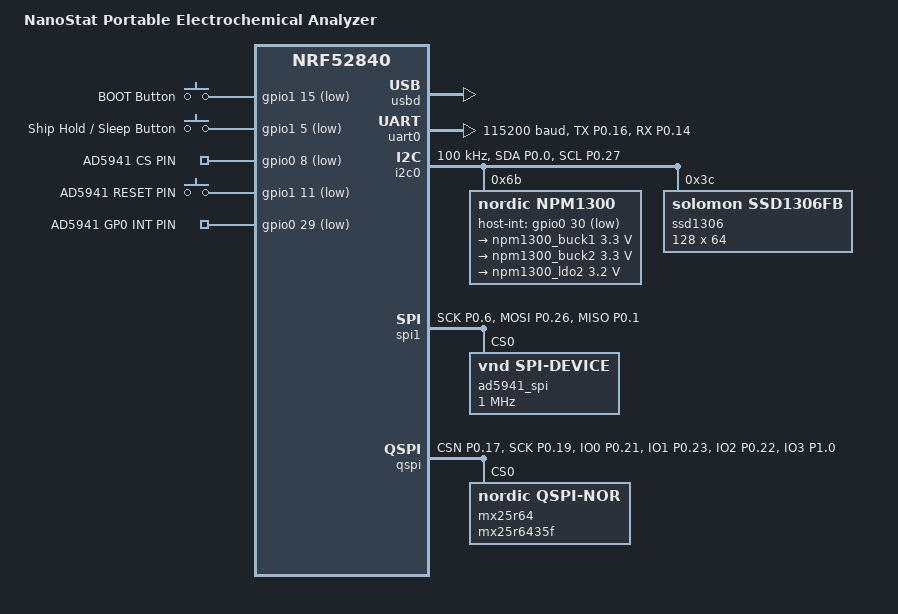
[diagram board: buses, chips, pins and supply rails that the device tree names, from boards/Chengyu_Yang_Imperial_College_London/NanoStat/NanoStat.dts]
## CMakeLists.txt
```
cmake_minimum_required(VERSION 3.20.0)

find_package(Zephyr REQUIRED HINTS $ENV{ZEPHYR_BASE})
project(NPM1300_bringup)

target_compile_definitions(app PRIVATE CHIPSEL_594X)
zephyr_include_directories(lib/ad5940lib)

target_sources(app PRIVATE
    src/main.c
    src/power_config.c
    src/ble_service.c
    src/ad5941_app.c
    src/ad5941_port.c
    src/oled_display.c
    lib/ad5940lib/ad5940.c
)
```

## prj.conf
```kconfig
# =========================================================
# Basic console / printk
# =========================================================
CONFIG_PRINTK=y
CONFIG_SERIAL=y
CONFIG_CONSOLE=y
#CONFIG_UART_CONSOLE=y


# =========================================================
# Native USB CDC ACM console
# =========================================================
CONFIG_USB_DEVICE_STACK=y
CONFIG_USB_DEVICE_PRODUCT="NanoStat nPM1300 bringup"

# The Nordic VID suppresses the default test-VID warning during development.
# A released product must use a legally assigned USB VID/PID.
CONFIG_USB_DEVICE_VID=0x1915
CONFIG_USB_DEVICE_PID=0x0004

# USB is enabled explicitly in main.c with usb_enable(NULL).
CONFIG_USB_DEVICE_INITIALIZE_AT_BOOT=n

# Required by the CDC ACM console.
CONFIG_UART_LINE_CTRL=y
CONFIG_UART_INTERRUPT_DRIVEN=y


# =========================================================
# nPM1300 / I2C / Sensor
# =========================================================
CONFIG_GPIO=y
CONFIG_I2C=y
CONFIG_SENSOR=y
CONFIG_LED=y
CONFIG_LED_NPM1300=y
CONFIG_MFD_NPM1300=y
CONFIG_NPM1300_CHARGER=y
CONFIG_REGULATOR=y
CONFIG_REGULATOR_NPM1300=y
CONFIG_SPI=y
CONFIG_SPI_NRFX=y


# =========================================================
# Logging
# =========================================================
# Disable the Zephyr logging subsystem and retain printk output only.
CONFIG_LOG=n


# =========================================================
# Shell
# =========================================================
# Disable the shell so its prompt does not mix with periodic printk output.
CONFIG_SHELL=n
CONFIG_DEVICE_SHELL=n
CONFIG_I2C_SHELL=n
CONFIG_SENSOR_SHELL=n


# =========================================================
# Low frequency clock
# =========================================================
# Use the internal 32.768 kHz RC oscillator.
CONFIG_CLOCK_CONTROL_NRF_K32SRC_RC=y

# Enable automatic RC calibration.
CONFIG_CLOCK_CONTROL_NRF_K32SRC_RC_CALIBRATION=y
CONFIG_CLOCK_CONTROL_NRF_CALIBRATION_PERIOD=4000

# Declare the low-frequency clock accuracy.
CONFIG_CLOCK_CONTROL_NRF_K32SRC_500PPM=y



CONFIG_USE_SEGGER_RTT=y
CONFIG_RTT_CONSOLE=y
CONFIG_UART_CONSOLE=n


# =========================================================
# BLE / Nordic UART Service
# =========================================================
CONFIG_BT=y
CONFIG_BT_PERIPHERAL=y
CONFIG_BT_DEVICE_NAME="NanoStat"
CONFIG_BT_DEVICE_APPEARANCE=833
CONFIG_BT_NUS=y
CONFIG_BT_MAX_CONN=1
CONFIG_BT_MAX_PAIRED=1
CONFIG_BT_GATT_CLIENT=n
CONFIG_BT_SETTINGS=n
```

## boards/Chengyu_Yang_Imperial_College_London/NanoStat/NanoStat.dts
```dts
/*
 * NanoStat (nRF52840-QIAA based) Device Tree
 * Designed for Portable Electrochemical Analysis
 */

/dts-v1/;
#include <nordic/nrf52840_qiaa.dtsi>
#include <zephyr/dt-bindings/gpio/gpio.h>
#include <zephyr/dt-bindings/i2c/i2c.h>
#include <zephyr/dt-bindings/regulator/npm1300.h>

#include "NanoStat-pinctrl.dtsi"

/ {
    model = "NanoStat Portable Electrochemical Analyzer";
    compatible = "Chengyu_Yang_Imperial_College_London,NanoStat";

    /* Core memory, display, and console bindings. */
    chosen {
        zephyr,sram = &sram0;
        zephyr,flash = &flash0;
        zephyr,code-partition = &slot0_partition;
        zephyr,display = &ssd1306;
        /* Route console, printk, and shell traffic through native USB CDC ACM. */
        zephyr,console = &cdc_acm_uart0;
        zephyr,shell-uart = &cdc_acm_uart0;
    };

    /* Standard aliases used by Zephyr drivers and application code. */
    aliases {
        uart-0 = &uart0;
        i2c-0 = &i2c0;
        spi-1 = &spi1;
        qspi-0 = &qspi;
        sw0 = &button_boot;
        sw3 = &button_ship_hold;
        afe-int = &ad5941_gp0_int;
    };

    /* GPIO button definitions. */
    buttons {
        compatible = "gpio-keys";

        button_boot: button_boot {
            gpios = <&gpio1 15 (GPIO_PULL_UP | GPIO_ACTIVE_LOW)>;
            label = "BOOT Button";
        };

        button_ship_hold: button_ship_hold {
            /* P1.05 maps to GPIO port 1, pin 5. */
            gpios = <&gpio1 5 (GPIO_ACTIVE_LOW | GPIO_PULL_UP)>;
            label = "Ship Hold / Sleep Button";
        };
    };

};

/* ================================================================= */
/* 0. Internal flash partition table                                  */
/* ================================================================= */
&flash0 {
    partitions {
        compatible = "fixed-partitions";
        #address-cells = <1>;
        #size-cells = <1>;

        boot_partition: partition@0 {
            label = "mcuboot";
            reg = <0x00000000 DT_SIZE_K(48)>;
        };

        slot0_partition: partition@c000 {
            label = "image-0";
            reg = <0x0000c000 DT_SIZE_K(472)>;
        };

        slot1_partition: partition@82000 {
            label = "image-1";
            reg = <0x00082000 DT_SIZE_K(472)>;
        };

        storage_partition: partition@f8000 {
            label = "storage";
            reg = <0x000f8000 DT_SIZE_K(32)>;
        };
    };
};

/* ================================================================= */
/* 1. Physical pin mappings                                            */
/* ================================================================= */
&pinctrl {
    /* UART pins. */
    uart0_default: uart0_default {
        group1 { psels = <NRF_PSEL(UART_TX, 0, 16)>, <NRF_PSEL(UART_RX, 0, 14)>; };
    };
    uart0_sleep: uart0_sleep {
        group1 { psels = <NRF_PSEL(UART_TX, 0, 16)>, <NRF_PSEL(UART_RX, 0, 14)>; low-power-enable; };
    };

    /* I2C0 pins for the nPM1300 and OLED. */
    i2c0_default: i2c0_default {
        group1 { psels = <NRF_PSEL(TWIM_SDA, 0, 0)>, <NRF_PSEL(TWIM_SCL, 0, 27)>; bias-pull-up; };
    };
    i2c0_sleep: i2c0_sleep {
        group1 { psels = <NRF_PSEL(TWIM_SDA, 0, 0)>, <NRF_PSEL(TWIM_SCL, 0, 27)>; low-power-enable; };
    };

    /* SPI1 pins for the AD5941. */
    spi1_default: spi1_default {
        group1 { psels = <NRF_PSEL(SPIM_SCK, 0, 6)>, <NRF_PSEL(SPIM_MOSI, 0, 26)>, <NRF_PSEL(SPIM_MISO, 0, 1)>; };
    };
    spi1_sleep: spi1_sleep {
        group1 { psels = <NRF_PSEL(SPIM_SCK, 0, 6)>, <NRF_PSEL(SPIM_MOSI, 0, 26)>, <NRF_PSEL(SPIM_MISO, 0, 1)>; low-power-enable; };
    };

    /* QSPI pins for external flash. */
    qspi_default: qspi_default {
        group1 { psels = <NRF_PSEL(QSPI_CSN, 0, 17)>, <NRF_PSEL(QSPI_SCK, 0, 19)>, <NRF_PSEL(QSPI_IO0, 0, 21)>, <NRF_PSEL(QSPI_IO1, 0, 23)>, <NRF_PSEL(QSPI_IO2, 0, 22)>, <NRF_PSEL(QSPI_IO3, 1, 0)>; };
    };
    qspi_sleep: qspi_sleep {
        group1 { psels = <NRF_PSEL(QSPI_CSN, 0, 17)>, <NRF_PSEL(QSPI_SCK, 0, 19)>, <NRF_PSEL(QSPI_IO0, 0, 21)>, <NRF_PSEL(QSPI_IO1, 0, 23)>, <NRF_PSEL(QSPI_IO2, 0, 22)>, <NRF_PSEL(QSPI_IO3, 1, 0)>; low-power-enable; };
    };
};

/* ================================================================= */
/* 2. Peripheral nodes                                                 */
/* ================================================================= */

/* Native USB. */
zephyr_udc0: &usbd {
    compatible = "nordic,nrf-usbd";
    status = "okay";

    cdc_acm_uart0: cdc_acm_uart0 {
        compatible = "zephyr,cdc-acm-uart";

    };
};

/* Debug UART. */
&uart0 {
    status = "okay";
    current-speed = <115200>;
    pinctrl-0 = <&uart0_default>;
    pinctrl-1 = <&uart0_sleep>;
    pinctrl-names = "default", "sleep";
};

/* I2C bus for the nPM1300 and OLED. */
&i2c0 {
    status = "okay";
    pinctrl-0 = <&i2c0_default>;
    pinctrl-1 = <&i2c0_sleep>;
    pinctrl-names = "default", "sleep";
    clock-frequency = <I2C_BITRATE_STANDARD>;

    npm1300: npm1300@6b {
        compatible = "nordic,npm1300";
        reg = <0x6b>;
        status = "okay";

        host-int-gpios = <&gpio0 30 GPIO_ACTIVE_LOW>;
        pmic-int-pin = <3>;
        ship-to-active-time-ms = <3008>;
        long-press-reset = "disabled";

        npm1300_gpio: gpio-controller {
            compatible = "nordic,npm1300-gpio";
            gpio-controller;
            #gpio-cells = <2>;
            ngpios = <5>;
        };

        npm1300_regulators: regulators {
            compatible = "nordic,npm1300-regulator";
            status = "okay";

            npm1300_buck1: BUCK1 {
                regulator-min-microvolt = <3300000>;
                regulator-max-microvolt = <3300000>;
                regulator-always-on;
                regulator-boot-on;
                regulator-initial-mode = <NPM1300_BUCK_MODE_AUTO>;

            };

            npm1300_buck2: BUCK2 {
                regulator-min-microvolt = <3300000>;
                regulator-max-microvolt = <3300000>;
                regulator-always-on;
                regulator-boot-on;
                regulator-initial-mode = <NPM1300_BUCK_MODE_PWM>;
            };

            npm1300_ldo1: LDO1 {
                regulator-initial-mode = <NPM1300_LDSW_MODE_LDSW>;
            };

            npm1300_ldo2: LDO2 {
                regulator-min-microvolt = <3200000>;
                regulator-max-microvolt = <3200000>;
                regulator-initial-mode = <NPM1300_LDSW_MODE_LDO>;
            };
        };

        npm1300_leds: leds {
            compatible = "nordic,npm1300-led";
            status = "okay";
            nordic,led0-mode = "host";
            nordic,led1-mode = "host";
            nordic,led2-mode = "host";
        };

        npm1300_charger: charger {
            compatible = "nordic,npm1300-charger";
            status = "okay";

            term-microvolt = <4150000>;
            current-microamp = <32000>;
            dischg-limit-microamp = <1000000>;
            vbus-limit-microamp = <500000>;

            thermistor-ohms = <10000>;
            thermistor-beta = <3988>;

            charging-enable;
        };
    };

    ssd1306: ssd1306@3c {
        compatible = "solomon,ssd1306fb";
        reg = <0x3c>;
        status = "okay";
        width = <128>;
        height = <64>;
        segment-offset = <0>;
        page-offset = <0>;
        display-offset = <0>;
        multiplex-ratio = <63>;
        segment-remap;
        com-invdir;
        com-sequential;
        prechargep = <0x22>;
    };
};

/* SPI bus for the AD5941. */
&spi1 {
    status = "okay";
    pinctrl-0 = <&spi1_default>;
    pinctrl-1 = <&spi1_sleep>;
    pinctrl-names = "default", "sleep";

    /* Chip select is controlled manually through ad5941_config below. */

    /* The label matches DT_NODELABEL(ad5941_spi) in the application. */
    ad5941_spi: ad5941@0 {
        compatible = "vnd,spi-device";
        reg = <0>;
        /* Bring-up uses 1 MHz; verify signal integrity before increasing it. */
        spi-max-frequency = <1000000>;
    };
};
/* ================================================================= */
/{
    /* Manually controlled AD5941 GPIO signals. */
    ad5941_config {
        compatible = "gpio-keys";

        ad5941_cs: ad5941_cs {
            /* Manual chip-select pin P0.08. */
            gpios = <&gpio0 8  GPIO_ACTIVE_LOW>;
            label = "AD5941 CS PIN";
        };

        ad5941_reset: ad5941_reset {
            /* Reset pin P1.11. */
            gpios = <&gpio1 11 GPIO_ACTIVE_LOW>;
            label = "AD5941 RESET PIN";
        };

        ad5941_gp0_int: ad5941_gp0_int {
            gpios = <&gpio0 29 (GPIO_ACTIVE_LOW | GPIO_PULL_UP)>;
            label = "AD5941 GP0 INT PIN";
        };
    };
};
/* QSPI bus for the external MX25R6435F flash. */
&qspi {
    status = "okay";
    pinctrl-0 = <&qspi_default>;
    pinctrl-1 = <&qspi_sleep>;
    pinctrl-names = "default", "sleep";
    mx25r64: mx25r6435f@0 {
        compatible = "nordic,qspi-nor";
        reg = <0>;
        writeoc = "pp4io";
        readoc = "read4io";
        sck-frequency = <8000000>;
        jedec-id = [c2 28 17];
        size = <67108864>;
        has-dpd;
    };
};

/* ================================================================= */
/* 3. Enable GPIO ports                                                */
/* ================================================================= */
&gpiote {
    status = "okay";
};

&gpio0 { status = "okay"; };
&gpio1 { status = "okay"; };
```

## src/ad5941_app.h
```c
/*
 * ad5941_app.h
 * Public high-level interface to the AD5941 application layer.
 */
#ifndef AD5941_APP_H
#define AD5941_APP_H

#include <stdbool.h>
#include <stdint.h>

enum ad5941_blank_peak_tia_path {
    AD5941_BLANK_PEAK_TIA_LPTIA = 0,
    AD5941_BLANK_PEAK_TIA_HSTIA_INT_160K,
    AD5941_BLANK_PEAK_TIA_HSTIA_EXT_160K,
    AD5941_BLANK_PEAK_TIA_HSTIA_EXT_330K,
    AD5941_BLANK_PEAK_TIA_HSTIA_EXT_680K,
};

enum ad5941_swv_profile {
    AD5941_SWV_PROFILE_5MV_FULL = 0,
    AD5941_SWV_PROFILE_2MV_FULL,
    AD5941_SWV_PROFILE_1MV_SEGMENTED,
};

#define ENABLE_LINEARITY_TEST 1

/**
 * @brief Initialise the AD5941 system.
 *
 * Checks SPI access, performs a hardware reset, and configures clocks and
 * the low-power electrochemical loop.
 *
 * @return 0 on success, or a negative value on failure.
 */
int ad5941_app_init(void);

/**
 * @brief Start the milestone-2 no-load baseline measurement stream.
 */
void ad5941_app_start_measurement(void);

/**
 * @brief Return whether an AD5941 capture/test session is currently active.
 *
 * RTT and BLE command paths use this to avoid starting a new test while the
 * sequencer/FIFO pipeline still belongs to the previous one.
 */
bool ad5941_app_is_measurement_busy(void);

/**
 * @brief Return whether the low-rate nPM1300 battery-current trace is active.
 *
 * SWV data must continue to be sent over BLE, but its large RTT CSV dump is
 * suppressed during this trace so it cannot stall current sampling.
 */
bool nanostat_battery_trace_is_active(void);

/**
 * @brief Clear transient measurement state before starting a new independent test.
 *
 * This stops ADC conversion, disables FIFO watermark IRQs, cancels delayed
 * finish work, clears pending FIFO flags, puts the electrode path into high-Z
 * safe idle, and resets app-side capture bookkeeping. It does not redo the full
 * AD5941 hardware bring-up.
 */
void ad5941_app_soft_reset_for_next_test(void);

/**
 * @brief Start the hardware-sequencer controlled CA test.
 *
 * The sequence applies +100mV with LPDAC, runs ADC conversion for 5 seconds,
 * then stops conversion without MCU timing intervention.
 *
 * @return 0 on success, <0 on failure.
 */
int App_SeqCA_Test_Start(void);

/**
 * @brief Start the hardware-sequencer controlled CV staircase test.
 *
 * The sequence sweeps LPDAC from about -100mV to +100mV and back with
 * 50ms dwell per step while ADC conversion runs continuously.
 *
 * @return 0 on success, <0 on failure.
 */
int App_SeqCV_Test_Start(void);

/**
 * @brief Start the hardware-sequencer controlled SWV pulse staircase test.
 *
 * The sequence sweeps the LPDAC base potential from about -100mV to +100mV.
 * At each base step, it applies a +50mV pulse for 25ms followed by a -50mV
 * pulse for 25ms while ADC conversion runs continuously.
 *
 * @return 0 on success, <0 on failure.
 */
int App_SeqSWV_Test_Start(void);

/**
 * @brief Start the sealed SWV-KDM diagnostic test.
 *
 * This keeps the verified long 100ms half-period timing. The ADC runs
 * continuously, then the MCU extracts end-of-pulse Delta_I after capture.
 *
 * @return 0 on success, <0 on failure.
 */
int App_SeqSWV_SinglePoint_Test_Start(void);

/**
 * @brief Start the fast SWV-KDM test.
 *
 * This returns to the 25ms half-period timing and uses a faster SINC2 OSR to
 * check whether the SINC2 settling path caused the attenuated SWV response.
 *
 * @return 0 on success, <0 on failure.
 */
int App_SeqSWV_FastKDM_Test_Start(void);

/**
 * @brief Start the slow-motion SWV single-point test.
 *
 * This keeps RTIA at 512k and stretches each half-pulse to 250ms so the
 * external compensation capacitor can settle.
 *
 * @return 0 on success, <0 on failure.
 */
int App_SeqSWV_SlowMotion_Test_Start(void);

/**
 * @brief Start the low-impedance SWV single-point test.
 *
 * This keeps the 25ms half-pulse timing but forces LPTIA TIAGAIN to 20k and
 * updates current conversion to match the lower RTIA.
 *
 * @return 0 on success, <0 on failure.
 */
int App_SeqSWV_LowImpedance_Test_Start(void);

/**
 * @brief Start the mixed-mode high-speed SWV diagnostic test.
 *
 * The waveform is still generated by LPDAC + Sequencer, but ADC sampling is
 * routed through the HSTIA path with internal 160k RTIA and small CTIA. This
 * diagnostic uses a 20ms half-pulse so a full SWV step aligns to two 50Hz
 * mains cycles.
 *
 * @return 0 on success, <0 on failure.
 */
int App_SeqSWV_MixedModeHSTIA_Test_Start(void);

/**
 * @brief Start the external AIN1 HSTIA 2M SWV comparison test at 150Hz.
 *
 * This uses the PCB DE0-AIN1 external 2M feedback resistor, opens the HSTIA
 * internal RTIA, and matches the LPTIA 150Hz comparison sweep and endpoint
 * extraction settings.
 *
 * @return 0 on success, <0 on failure.
 */
int App_SeqSWV_HSTIAExternalAIN1_Test_Start(void);

/**
 * @brief Start the external AIN1 HSTIA 2M SWV comparison test at 150Hz with Notch enabled.
 *
 * This keeps the HSTIA path identical to App_SeqSWV_HSTIAExternalAIN1_Test_Start()
 * except that the ADC Notch filter is enabled.
 *
 * @return 0 on success, <0 on failure.
 */
int App_SeqSWV_HSTIAExternalAIN1_Notch150Hz_Test_Start(void);

/**
 * @brief Start LPTIA external 2M SWV comparison test at 150Hz.
 *
 * Internal LPTIA RTIA is opened, LPAMP boost is enabled, and the external
 * 2M/220pF feedback path is measured with the same reduced SWV amplitude and
 * endpoint extraction settings used by the HSTIA comparison path.
 *
 * @return 0 on success, <0 on failure.
 */
int App_SeqSWV_LPTIAExternal2M_150Hz_Test_Start(void);

/**
 * @brief Run LPTIA external 2M SWV comparison test five times automatically.
 *
 * This starts the same test as App_SeqSWV_LPTIAExternal2M_150Hz_Test_Start(),
 * repeats it five times, and waits 10 seconds between completed runs.
 *
 * @return 0 on success, <0 on failure.
 */
int App_AutoRepeat_LPTIAExternal2M_150Hz_Test_Start(void);

/**
 * @brief Start LPTIA external 2M SWV diagnostic at 210Hz.
 *
 * Internal LPTIA RTIA is opened, LPAMP boost is enabled, and the external
 * 2M/220pF feedback path is measured with a reduced SWV amplitude while
 * avoiding exact 50Hz phase locking.
 *
 * @return 0 on success, <0 on failure.
 */
int App_SeqSWV_LPTIAExternal2M_200Hz_Test_Start(void);

/**
 * @brief Start boosted LPTIA 512k||2M SWV diagnostic at 150Hz.
 *
 * This keeps the internal 512k RTIA enabled, leaves the external 2M/220pF
 * feedback path in parallel, and enables LPAMP boost.
 *
 * @return 0 on success, <0 on failure.
 */
int App_SeqSWV_LPTIA512KParallel2MBoost150Hz_Test_Start(void);

/**
 * @brief Start LPTIA external 2M SWV diagnostic at 150Hz with boost disabled.
 *
 * This opens the internal LPTIA RTIA and relies on the external 2M/220pF
 * feedback path, but keeps LPAMP in normal power mode.
 *
 * @return 0 on success, <0 on failure.
 */
int App_SeqSWV_LPTIAExternal2M_NoBoost150Hz_Test_Start(void);

/**
 * @brief Start LPTIA external 2M SWV comparison test at 150Hz with Notch enabled.
 *
 * This keeps the LPTIA path identical to App_SeqSWV_LPTIAExternal2M_150Hz_Test_Start()
 * except that the ADC Notch filter is enabled.
 *
 * @return 0 on success, <0 on failure.
 */
int App_SeqSWV_LPTIAExternal2M_Notch150Hz_Test_Start(void);

/**
 * @brief Start a paper-style dual-frequency SWV/KDM dummy-cell test.
 *
 * This uses the LPTIA external 2M/220pF path, runs a 150Hz scan followed by
 * a 10Hz scan over -450mV..0mV, then prints the KDM ratio.
 *
 * @return 0 on success, <0 on failure.
 */
int App_SeqSWV_KDMPaper_Dummy_Test_Start(void);

/**
 * @brief Start a single-frequency paper-style SWV peak scan for PBS/MB blank tests.
 *
 * This reuses the paper-style SWV window (-450mV..0mV, 35mV pulse, ~5.37mV
 * step) on the LPTIA 512k||external-2M/220pF path, holds the start potential
 * for a quiet time, then runs one user-selected frequency and prints
 * voltage/current CSV rows to RTT.
 *
 * @param frequency_hz SWV frequency in Hz. Valid range is 1..250.
 * @return 0 on success, <0 on failure.
 */
int App_SeqSWV_BlankPeak_Test_Start(uint32_t frequency_hz);

/**
 * @brief Start the same single-frequency blank/peak scan with extra smoothing columns.
 *
 * RTT/BLE output includes Delta_I_smooth5, Delta_I_smooth7, and a 5-point
 * quadratic Savitzky-Golay smoothed Delta_I value in addition to the existing
 * raw/avg3 data. The scan uses the paper-style -450 mV..0 mV window with
 * approximately 1 mV potential steps, loaded in sequencer segments when needed.
 *
 * @param frequency_hz SWV frequency in Hz. Valid range is 1..250.
 * @return 0 on success, <0 on failure.
 */
int App_SeqSWV_BlankPeakSmoothing_Test_Start(uint32_t frequency_hz);

/**
 * @brief Start a single-frequency PBS/MB blank/peak scan on the HSTIA 160k path.
 *
 * This keeps the same E_WE-RE window, pulse amplitude, approximately 1 mV
 * potential step, quiet time, endpoint extraction, and smoothing output as
 * App_SeqSWV_BlankPeakSmoothing_Test_Start(), but routes current through the
 * internal HSTIA 160k path to avoid LPTIA saturation when PBS/MB currents are
 * unexpectedly large.
 *
 * @param frequency_hz SWV frequency in Hz. Valid range is 1..250.
 * @return 0 on success, <0 on failure.
 */
int App_SeqSWV_BlankPeakHSTIA160K_Test_Start(uint32_t frequency_hz);

/**
 * @brief Start a single-frequency PBS/MB blank/peak scan on a selectable TIA path.
 *
 * This is used by RTT and BLE/Web workflows to compare the internal HSTIA
 * 160k resistor with external thin-film HSTIA feedback resistors.
 *
 * @param frequency_hz SWV frequency in Hz. Valid range is 1..250.
 * @param tia_path TIA path/resistor selection.
 * @return 0 on success, <0 on failure.
 */
int App_SeqSWV_BlankPeakSelectableTIA_Test_Start(
    uint32_t frequency_hz,
    enum ad5941_blank_peak_tia_path tia_path);

/**
 * @brief Start a dummy-cell SWV validation scan.
 *
 * This reuses the PBS SWV voltage window and TIA readout path, but reports the
 * run as an ohmic dummy-cell validation instead of an aptasensor peak test.
 */
int App_SeqSWV_DummyCell_Test_Start(enum ad5941_swv_profile profile,
                                    uint32_t frequency_hz,
                                    enum ad5941_blank_peak_tia_path tia_path,
                                    uint32_t dummy_ohms);

/**
 * @brief Start the legacy AIN2-330k dummy-cell SWV comparison path.
 *
 * This is an RTT-only diagnostic used to reproduce the known-good 70 nA
 * dummy-cell result: 120 Hz, 5.37 mV staircase, +/-35 mV SWV pulse,
 * HSTIA external AIN2 330k. It intentionally avoids the new pre-test and
 * in-sequence high-Z guards so it can isolate guard/tail side effects.
 */
int App_SeqSWV_DummyCellLegacyAIN2_Test_Start(uint32_t dummy_ohms);

/**
 * @brief Auto-repeat dummy-cell SWV validation scans.
 */
int App_AutoRepeat_DummySWV_Test_Start(enum ad5941_swv_profile profile,
                                       uint32_t frequency_hz,
                                       enum ad5941_blank_peak_tia_path tia_path,
                                       uint32_t dummy_ohms,
                                       uint8_t repeat_count,
                                       uint32_t interval_ms);

/**
 * @brief Force the AD5941 electrode interface into the safe high-Z idle state.
 */
void ad5941_app_enter_high_z_now(void);

/**
 * @brief Run the high-Z validation scan and hold the final potential.
 *
 * The scan moves from approximately -400 mV to -200 mV and deliberately
 * leaves the electrode path biased at the final potential until a separate
 * high-Z command is received.
 */
int ad5941_app_start_high_z_validation(void);
void ad5941_app_reset_high_z_validation(void);

/**
 * @brief Compare LPTIA external-2M zero-current baseline with offset cal off/on.
 *
 * The test clears ADCOFFSETLPTIA0, captures a 0mV baseline, runs
 * AD5940_LPTIAOffsetCal(), restores the same external 2M path, captures again,
 * prints both statistics, then clears ADCOFFSETLPTIA0 back to zero.
 *
 * @return 0 on success, <0 on failure.
 */
int App_LPTIAOffsetDiagnostic_Test_Start(void);

/**
 * @brief Start an end-to-end LPTIA step response capture.
 *
 * The sequencer holds the LPTIA external 2M/220pF path at 0mV, steps to
 * +100mV, and captures the SINC2 FIFO stream so the MCU can estimate endpoint
 * settling for the current SWV windowing method.
 *
 * @return 0 on success, <0 on failure.
 */
int App_LPTIAStepResponse_Test_Start(void);

/**
 * @brief Start an end-to-end HSTIA external AIN1 step response capture.
 *
 * This mirrors App_LPTIAStepResponse_Test_Start() but routes the ADC through
 * the external AIN1 HSTIA 2M feedback path, currently using the configured
 * HSTIA CTIA value.
 *
 * @return 0 on success, <0 on failure.
 */
int App_HSTIAStepResponse_Test_Start(void);

bool ad5941_app_get_latest_current(int32_t *current_pa, uint32_t *sample_count);

#if ENABLE_LINEARITY_TEST
void ad5941_linearity_test_setup(uint8_t mode);
#endif

/**
 * @brief Put AD5941 interface pins into a safe state before power removal.
 */
void ad5941_app_prepare_shutdown(void);

#endif /* AD5941_APP_H */
```

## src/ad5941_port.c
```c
/*
 * AD5941 MCU Porting Layer for Zephyr RTOS (nRF52840)
 * Bridges the Analog Devices ad5940lib to Zephyr drivers.
 */

#include <zephyr/kernel.h>
#include <zephyr/device.h>
#include <zephyr/devicetree.h>
#include <zephyr/drivers/spi.h>
#include <zephyr/drivers/gpio.h>
#include <zephyr/sys/printk.h>

#include "ad5940.h"

/* * ==========================================
 * 1. Hardware node bindings shared with main.c
 * ==========================================
 */
#define SPI1_NODE DT_NODELABEL(ad5941_spi)

/* Mode 0 (CPOL=0, CPHA=0) is required by the AD5941 interface. */
static const struct spi_dt_spec spi_dev = SPI_DT_SPEC_GET(SPI1_NODE, SPI_WORD_SET(8) | SPI_TRANSFER_MSB, 0); 
static const struct gpio_dt_spec cs_pin = GPIO_DT_SPEC_GET(DT_PATH(ad5941_config, ad5941_cs), gpios);
static const struct gpio_dt_spec rst_pin = GPIO_DT_SPEC_GET(DT_PATH(ad5941_config, ad5941_reset), gpios);

/* * ==========================================
 * 2. Low-level interfaces required by the ADI library
 * ==========================================
 */

/**
 * @brief Check and initialise MCU-side hardware resources.
 */
uint32_t AD5940_MCUResourceInit(void *pCfg)
{
    if (!spi_is_ready_dt(&spi_dev)) {
        printk("[AD5941 Port] ERROR: SPI device not ready!\n");
        return 1; // Return error
    }
    if (!gpio_is_ready_dt(&cs_pin) || !gpio_is_ready_dt(&rst_pin)) {
        printk("[AD5941 Port] ERROR: GPIO devices not ready!\n");
        return 1; 
    }
    
    /* Leave chip select inactive and release reset by default. */
    gpio_pin_configure_dt(&cs_pin, GPIO_OUTPUT_INACTIVE);
    gpio_pin_configure_dt(&rst_pin, GPIO_OUTPUT_INACTIVE);
    
    return 0; // Success
}

/**
 * @brief Assert chip select.
 */
void AD5940_CsClr(void)
{
    gpio_pin_set_dt(&cs_pin, 1);
}

/**
 * @brief Deassert chip select.
 */
void AD5940_CsSet(void)
{
    gpio_pin_set_dt(&cs_pin, 0);
}

/**
 * @brief Release reset.
 */
void AD5940_RstSet(void)
{
    gpio_pin_set_dt(&rst_pin, 0);
}

/**
 * @brief Assert reset.
 */
void AD5940_RstClr(void)
{
    gpio_pin_set_dt(&rst_pin, 1);
}

/**
 * @brief Delay in units of 10 microseconds.
 * @param time Number of 10 microsecond intervals.
 */
void AD5940_Delay10us(uint32_t time)
{
    if (time == 0) return;
    
    /* Busy-wait because the ADI interface requires a short synchronous delay. */
    k_busy_wait(time * 10);
}

/**
 * @brief Low-level SPI transfer function.
 * @note The ADI library calls AD5940_CsClr before this function and
 * AD5940_CsSet afterwards, so chip select must not be changed here.
 */
void AD5940_ReadWriteNBytes(unsigned char *pSendBuffer, unsigned char *pRecvBuffer, unsigned long length)
{
    int ret;
    
    /* Zephyr transmit buffer. */
    struct spi_buf tx_buf = {
        .buf = pSendBuffer,
        .len = length
    };
    struct spi_buf_set tx_set = {
        .buffers = &tx_buf,
        .count = 1
    };

    /* Zephyr receive buffer. */
    struct spi_buf rx_buf = {
        .buf = pRecvBuffer,
        .len = length
    };
    struct spi_buf_set rx_set = {
        .buffers = &rx_buf,
        .count = 1
    };

    /* Transmit only. */
    if (pRecvBuffer == NULL) {
        ret = spi_write_dt(&spi_dev, &tx_set);
    } 
    /* Receive only. */
    else if (pSendBuffer == NULL) {
        ret = spi_read_dt(&spi_dev, &rx_set);
    } 
    /* Full-duplex transfer. */
    else {
        ret = spi_transceive_dt(&spi_dev, &tx_set, &rx_set);
    }

    if (ret < 0) {
        printk("[AD5941 Port] ERROR: SPI Transfer failed: %d\n", ret);
    }
}

/* Optional interrupt-flag hooks required by the library interface. */
uint32_t AD5940_GetMCUIntFlag(void)
{
    return 0; 
}

uint32_t AD5940_ClrMCUIntFlag(void)
{
    return 0;
}

void AD5940_MCUResourceDeInit(void)
{
    gpio_pin_configure_dt(&cs_pin, GPIO_DISCONNECTED);
    gpio_pin_configure_dt(&rst_pin, GPIO_DISCONNECTED);
}
```

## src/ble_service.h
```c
/*
 * NanoStat BLE service layer.
 *
 * First BLE revision uses Nordic UART Service (NUS) so it can be tested with
 * Nordic phone tools and simple Web Bluetooth clients before a custom GATT
 * protocol is finalized.
 */
#ifndef BLE_SERVICE_H
#define BLE_SERVICE_H

#include <stdbool.h>
#include <stdint.h>

int ble_service_init(void);
bool ble_service_is_connected(void);
int ble_service_send_text(const char *text);
int ble_service_send_sample(uint32_t sample_count, int32_t current_pa);

#endif /* BLE_SERVICE_H */
```

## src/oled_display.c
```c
/*
 * oled_display.c
 * Minimal raw SSD1315/SSD1306 I2C text helper for NanoStat.
 *
 * This intentionally bypasses Zephyr's display/CFB stack. The gm009605 v4.3
 * OLED module accepts SSD1306-compatible commands, but its CFB path did not
 * map text reliably. Direct page writes are stable on this hardware.
 */

#include <ctype.h>
#include <errno.h>
#include <stddef.h>
#include <stdint.h>
#include <stdio.h>
#include <string.h>

#include <zephyr/device.h>
#include <zephyr/devicetree.h>
#include <zephyr/drivers/i2c.h>
#include <zephyr/kernel.h>
#include <zephyr/sys/printk.h>

#include "oled_display.h"

#define OLED_NODE       DT_NODELABEL(ssd1306)
#define OLED_WIDTH      128U
#define OLED_PAGES      8U
#define OLED_CHAR_W     6U

BUILD_ASSERT(DT_NODE_EXISTS(OLED_NODE), "Missing devicetree node label: ssd1306");

static const struct i2c_dt_spec oled_i2c = I2C_DT_SPEC_GET(OLED_NODE);
static bool oled_ready;

static int oled_write_cmd(uint8_t cmd)
{
    uint8_t buf[2] = {0x00, cmd};

    return i2c_write_dt(&oled_i2c, buf, sizeof(buf));
}

static int oled_write_cmds(const uint8_t *cmds, size_t len)
{
    uint8_t buf[32];

    if (len > (sizeof(buf) - 1U)) {
        return -EINVAL;
    }

    buf[0] = 0x00;
    memcpy(&buf[1], cmds, len);

    return i2c_write_dt(&oled_i2c, buf, len + 1U);
}

static int oled_write_data(const uint8_t *data, size_t len)
{
    uint8_t buf[OLED_WIDTH + 1U];

    if (len > OLED_WIDTH) {
        return -EINVAL;
    }

    buf[0] = 0x40;
    memcpy(&buf[1], data, len);

    return i2c_write_dt(&oled_i2c, buf, len + 1U);
}

static int oled_set_page_col(uint8_t page, uint8_t col)
{
    int ret;

    ret = oled_write_cmd(0xB0U | (page & 0x07U));
    if (ret != 0) {
        return ret;
    }

    ret = oled_write_cmd(0x00U | (col & 0x0FU));
    if (ret != 0) {
        return ret;
    }

    return oled_write_cmd(0x10U | ((col >> 4) & 0x0FU));
}

static int oled_clear_all(void)
{
    uint8_t zeros[OLED_WIDTH];

    memset(zeros, 0, sizeof(zeros));

    for (uint8_t page = 0; page < OLED_PAGES; page++) {
        int ret = oled_set_page_col(page, 0);

        if (ret != 0) {
            return ret;
        }

        ret = oled_write_data(zeros, sizeof(zeros));
        if (ret != 0) {
            return ret;
        }
    }

    return 0;
}

static int oled_init_controller(void)
{
    static const uint8_t init_cmds[] = {
        0xAE,       /* display off */
        0xD5, 0x80, /* clock divide */
        0xA8, 0x3F, /* multiplex 1/64 */
        0xD3, 0x00, /* display offset */
        0x40,       /* display start line */
        0x8D, 0x14, /* charge pump on */
        0x20, 0x02, /* page addressing mode */
        0xA1,       /* segment remap */
        0xC8,       /* COM scan direction remap */
        0xDA, 0x12, /* COM pins: 128x64 common layout */
        0x81, 0x8F, /* contrast */
        0xD9, 0xF1, /* precharge */
        0xDB, 0x40, /* VCOMH deselect */
        0xA4,       /* output follows RAM */
        0xA6,       /* normal display */
        0x2E,       /* deactivate scroll */
    };

    int ret = oled_write_cmds(init_cmds, sizeof(init_cmds));

    if (ret != 0) {
        return ret;
    }

    ret = oled_clear_all();
    if (ret != 0) {
        return ret;
    }

    return oled_write_cmd(0xAF);
}

static const uint8_t *glyph_for_char(char c)
{
    static const uint8_t blank[5] = {0x00, 0x00, 0x00, 0x00, 0x00};
    static const uint8_t question[5] = {0x02, 0x01, 0x51, 0x09, 0x06};

    static const uint8_t glyph_0[5] = {0x3E, 0x51, 0x49, 0x45, 0x3E};
    static const uint8_t glyph_1[5] = {0x00, 0x42, 0x7F, 0x40, 0x00};
    static const uint8_t glyph_2[5] = {0x42, 0x61, 0x51, 0x49, 0x46};
    static const uint8_t glyph_3[5] = {0x21, 0x41, 0x45, 0x4B, 0x31};
    static const uint8_t glyph_4[5] = {0x18, 0x14, 0x12, 0x7F, 0x10};
    static const uint8_t glyph_5[5] = {0x27, 0x45, 0x45, 0x45, 0x39};
    static const uint8_t glyph_6[5] = {0x3C, 0x4A, 0x49, 0x49, 0x30};
    static const uint8_t glyph_7[5] = {0x01, 0x71, 0x09, 0x05, 0x03};
    static const uint8_t glyph_8[5] = {0x36, 0x49, 0x49, 0x49, 0x36};
    static const uint8_t glyph_9[5] = {0x06, 0x49, 0x49, 0x29, 0x1E};

    static const uint8_t glyph_a[5] = {0x7E, 0x11, 0x11, 0x11, 0x7E};
    static const uint8_t glyph_b[5] = {0x7F, 0x49, 0x49, 0x49, 0x36};
    static const uint8_t glyph_c[5] = {0x3E, 0x41, 0x41, 0x41, 0x22};
    static const uint8_t glyph_d[5] = {0x7F, 0x41, 0x41, 0x22, 0x1C};
    static const uint8_t glyph_e[5] = {0x7F, 0x49, 0x49, 0x49, 0x41};
    static const uint8_t glyph_f[5] = {0x7F, 0x09, 0x09, 0x09, 0x01};
    static const uint8_t glyph_g[5] = {0x3E, 0x41, 0x49, 0x49, 0x7A};
    static const uint8_t glyph_h[5] = {0x7F, 0x08, 0x08, 0x08, 0x7F};
    static const uint8_t glyph_i[5] = {0x00, 0x41, 0x7F, 0x41, 0x00};
    static const uint8_t glyph_j[5] = {0x20, 0x40, 0x41, 0x3F, 0x01};
    static const uint8_t glyph_k[5] = {0x7F, 0x08, 0x14, 0x22, 0x41};
    static const uint8_t glyph_l[5] = {0x7F, 0x40, 0x40, 0x40, 0x40};
    static const uint8_t glyph_m[5] = {0x7F, 0x02, 0x0C, 0x02, 0x7F};
    static const uint8_t glyph_n[5] = {0x7F, 0x04, 0x08, 0x10, 0x7F};
    static const uint8_t glyph_o[5] = {0x3E, 0x41, 0x41, 0x41, 0x3E};
    static const uint8_t glyph_p[5] = {0x7F, 0x09, 0x09, 0x09, 0x06};
    static const uint8_t glyph_q[5] = {0x3E, 0x41, 0x51, 0x21, 0x5E};
    static const uint8_t glyph_r[5] = {0x7F, 0x09, 0x19, 0x29, 0x46};
    static const uint8_t glyph_s[5] = {0x46, 0x49, 0x49, 0x49, 0x31};
    static const uint8_t glyph_t[5] = {0x01, 0x01, 0x7F, 0x01, 0x01};
    static const uint8_t glyph_u[5] = {0x3F, 0x40, 0x40, 0x40, 0x3F};
    static const uint8_t glyph_v[5] = {0x1F, 0x20, 0x40, 0x20, 0x1F};
    static const uint8_t glyph_w[5] = {0x7F, 0x20, 0x18, 0x20, 0x7F};
    static const uint8_t glyph_x[5] = {0x63, 0x14, 0x08, 0x14, 0x63};
    static const uint8_t glyph_y[5] = {0x07, 0x08, 0x70, 0x08, 0x07};
    static const uint8_t glyph_z[5] = {0x61, 0x51, 0x49, 0x45, 0x43};

    static const uint8_t glyph_colon[5] = {0x00, 0x36, 0x36, 0x00, 0x00};
    static const uint8_t glyph_dot[5] = {0x00, 0x60, 0x60, 0x00, 0x00};
    static const uint8_t glyph_minus[5] = {0x08, 0x08, 0x08, 0x08, 0x08};

    switch ((char)toupper((unsigned char)c)) {
    case '0': return glyph_0;
    case '1': return glyph_1;
    case '2': return glyph_2;
    case '3': return glyph_3;
    case '4': return glyph_4;
    case '5': return glyph_5;
    case '6': return glyph_6;
    case '7': return glyph_7;
    case '8': return glyph_8;
    case '9': return glyph_9;
    case 'A': return glyph_a;
    case 'B': return glyph_b;
    case 'C': return glyph_c;
    case 'D': return glyph_d;
    case 'E': return glyph_e;
    case 'F': return glyph_f;
    case 'G': return glyph_g;
    case 'H': return glyph_h;
    case 'I': return glyph_i;
    case 'J': return glyph_j;
    case 'K': return glyph_k;
    case 'L': return glyph_l;
    case 'M': return glyph_m;
    case 'N': return glyph_n;
    case 'O': return glyph_o;
    case 'P': return glyph_p;
    case 'Q': return glyph_q;
    case 'R': return glyph_r;
    case 'S': return glyph_s;
    case 'T': return glyph_t;
    case 'U': return glyph_u;
    case 'V': return glyph_v;
    case 'W': return glyph_w;
    case 'X': return glyph_x;
    case 'Y': return glyph_y;
    case 'Z': return glyph_z;
    case ':': return glyph_colon;
    case '.': return glyph_dot;
    case '-': return glyph_minus;
    case ' ': return blank;
    default: return question;
    }
}

static int oled_print_page(uint8_t page, uint8_t col, const char *text)
{
    while (*text != '\0' && col <= (OLED_WIDTH - OLED_CHAR_W)) {
        uint8_t bytes[OLED_CHAR_W];
        const uint8_t *glyph = glyph_for_char(*text++);
        int ret;

        memcpy(bytes, glyph, 5U);
        bytes[5] = 0x00;

        ret = oled_set_page_col(page, col);
        if (ret != 0) {
            return ret;
        }

        ret = oled_write_data(bytes, sizeof(bytes));
        if (ret != 0) {
            return ret;
        }

        col += OLED_CHAR_W;
    }

    return 0;
}

static void format_current_na(char *buf, size_t len, int32_t current_pa)
{
    int32_t abs_pa = current_pa < 0 ? -current_pa : current_pa;
    const char *sign = current_pa < 0 ? "-" : "";

    (void)snprintk(buf, len, "%s%d.%03d nA", sign, abs_pa / 1000, abs_pa % 1000);
}

int oled_display_init(void)
{
    int ret;

    if (!device_is_ready(oled_i2c.bus)) {
        printk("[OLED] I2C bus is not ready.\n");
        return -ENODEV;
    }

    k_msleep(250);

    ret = oled_init_controller();
    if (ret != 0) {
        printk("[OLED] SSD1315 raw init failed: %d\n", ret);
        return ret;
    }

    oled_ready = true;
    oled_display_show_boot("Booting");

    printk("[OLED] SSD1315 raw display initialized.\n");
    return 0;
}

bool oled_display_is_ready(void)
{
    return oled_ready;
}

void oled_display_show_boot(const char *status)
{
    if (!oled_ready) {
        return;
    }

    (void)oled_clear_all();
    (void)oled_print_page(0, 0, "NanoStat Ready");
    (void)oled_print_page(2, 0, status != NULL ? status : "Starting");
}

void oled_display_show_afe_sample(uint32_t sample_count, int32_t current_pa)
{
    char line[24];
    char current_text[18];

    if (!oled_ready) {
        return;
    }

    format_current_na(current_text, sizeof(current_text), current_pa);

    (void)oled_clear_all();
    (void)oled_print_page(0, 0, "NanoStat Ready");

    (void)snprintk(line, sizeof(line), "AFE samples:%lu", (unsigned long)sample_count);
    (void)oled_print_page(2, 0, line);

    (void)snprintk(line, sizeof(line), "I:%s", current_text);
    (void)oled_print_page(4, 0, line);

    (void)oled_print_page(6, 0, "RTT stream active");
}
```

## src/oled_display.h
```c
/*
 * oled_display.h
 * Small SSD1306/CFB display helper for NanoStat bring-up screens.
 */
#ifndef OLED_DISPLAY_H
#define OLED_DISPLAY_H

#include <stdbool.h>
#include <stdint.h>

int oled_display_init(void);
bool oled_display_is_ready(void);
void oled_display_show_boot(const char *status);
void oled_display_show_afe_sample(uint32_t sample_count, int32_t current_pa);

#endif /* OLED_DISPLAY_H */
```

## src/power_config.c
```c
#include <zephyr/kernel.h>
#include <zephyr/drivers/regulator.h>
#include <zephyr/drivers/gpio.h>
#include <zephyr/sys/printk.h>

#include "power_config.h"

/* ========================================================
 * 1. Devicetree bindings
 * ======================================================== */
static const struct device *ls1_dev  = DEVICE_DT_GET(DT_NODELABEL(npm1300_ldo1));
static const struct device *ldo2_dev = DEVICE_DT_GET(DT_NODELABEL(npm1300_ldo2));
static const struct device *pmic_regulators_dev = DEVICE_DT_GET(DT_NODELABEL(npm1300_regulators));
static const struct gpio_dt_spec slp_button = GPIO_DT_SPEC_GET(DT_ALIAS(sw3), gpios);

/* Zephyr interrupt callback, timer, and work-queue objects. */
static struct gpio_callback slp_btn_cb_data;
static struct k_timer btn_timer;

/* Two-stage shutdown work items. */
static struct k_work arm_shutdown_work;
static struct k_work execute_shutdown_work;

/* Volatile state is shared between the ISR, timer, and work queue. */
static volatile bool shutdown_armed = false;
volatile bool shutting_down = false;

/* ========================================================
 * 2. Stage one: a three-second hold disables peripherals
 * ======================================================== */
static void arm_shutdown_work_handler(struct k_work *work)
{
    printk("\n[Power] >>> Long Press Confirmed (3s) <<<\n");
    printk("[Power] Sensor power disabled. Blue/Green LEDs OFF.\n");
    
    /* Disabling the sensor rails provides visible feedback to release the button. */
    regulator_disable(ldo2_dev);
    regulator_disable(ls1_dev);
    
    shutdown_armed = true;
    printk("[Power] >>> Please RELEASE the button to completely power off <<<\n");
}

/* ========================================================
 * 3. Stage two: releasing the button cuts the main power
 * ======================================================== */
static void execute_shutdown_work_handler(struct k_work *work)
{
    printk("\n[Power] Entering Ship Mode NOW! System halting...\n");
    
    /* Allow C36 (100 nF) to charge and stabilise the PMIC SHPHLD input. */
    k_msleep(250); 
    
    /* Use the nPM1300 regulator driver ship-mode path.
     * In NCS, register 0x0B00 is hibernate, while ship mode is 0x0B02.
     */
    int err = regulator_parent_ship_mode(pmic_regulators_dev);
    if (err) {
        printk("[Power] ERROR: Failed to enter Ship Mode: %d\n", err);
    }
}

/* ========================================================
 * 4. Timer and button interrupt handling
 * ======================================================== */
static void btn_timer_handler(struct k_timer *timer_id)
{
    k_work_submit(&arm_shutdown_work);
}

static void slp_button_isr(const struct device *dev, struct gpio_callback *cb, uint32_t pins)
{
    /* Ignore subsequent contact or RC transients once shutdown begins. */
    if (shutting_down) {
        return; 
    }

    int state = gpio_pin_get_dt(&slp_button);

    if (state == 1) {
        if (!shutdown_armed) {
            printk("\n[Power] SLP Button PRESSED. Starting 3s timer...\n");
            k_timer_start(&btn_timer, K_MSEC(3000), K_NO_WAIT);
        }
    } 
    else if (state == 0) {
        if (shutdown_armed) {
            shutting_down = true;
            
            /* Disable further button interrupts before entering ship mode. */
            gpio_pin_interrupt_configure_dt(&slp_button, GPIO_INT_DISABLE);
            
            printk("\n[Power] SLP Button RELEASED. Executing final shutdown...\n");
            k_work_submit(&execute_shutdown_work);
        } else {
            /* The button was released before the hold interval elapsed. */
            k_timer_stop(&btn_timer);
            printk("\n[Power] SLP Button RELEASED early. Shutdown aborted.\n");
        }
    }
}

/* ========================================================
 * 5. Initialisation entry point
 * ======================================================== */
int board_power_system_init(void)
{
    int ret;

    if (!gpio_is_ready_dt(&slp_button)) {
        printk("[Power] ERROR: SLP Button device not ready!\n");
        return -ENODEV;
    }

    k_work_init(&arm_shutdown_work, arm_shutdown_work_handler);
    k_work_init(&execute_shutdown_work, execute_shutdown_work_handler);
    k_timer_init(&btn_timer, btn_timer_handler, NULL);

    /* Apply the devicetree input configuration and the MCU's internal pull-up. */
    gpio_pin_configure_dt(&slp_button, GPIO_INPUT);
    gpio_pin_interrupt_configure_dt(&slp_button, GPIO_INT_EDGE_BOTH);

    gpio_init_callback(&slp_btn_cb_data, slp_button_isr, BIT(slp_button.pin));
    gpio_add_callback_dt(&slp_button, &slp_btn_cb_data);
    printk("[Power] SLP Button listener active (3s graceful shutdown).\n");

    printk("[Power] Starting analog front-end power sequence...\n");
    if (!device_is_ready(ls1_dev) || !device_is_ready(ldo2_dev) ||
        !device_is_ready(pmic_regulators_dev)) {
        printk("[Power] ERROR: Required PMIC devices not ready!\n");
        return -ENODEV;
    }

    ret = regulator_enable(ls1_dev);
    if (ret < 0) return ret;

    ret = regulator_enable(ldo2_dev);
    if (ret < 0) {
        regulator_disable(ls1_dev);
        return ret;
    }
    k_msleep(20);

    printk("[Power] Power sequence complete. All sensor rails stable.\n");
    return 0;
}
```

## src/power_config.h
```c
#ifndef POWER_CONFIG_H_
#define POWER_CONFIG_H_

#ifdef __cplusplus
extern "C" {
#endif

/**
 * @brief Initialise the system rails and power-button listener.
 *
 * Enables the AD5941 digital and analogue rails in order (LS1, then LDO2)
 * and installs the P1.05 SLP-button interrupt for a three-second shutdown.
 *
 * @return 0 on success, or a negative error if a device binding fails.
 */
int board_power_system_init(void);

#ifdef __cplusplus
}
#endif

#endif /* POWER_CONFIG_H_ */
```
